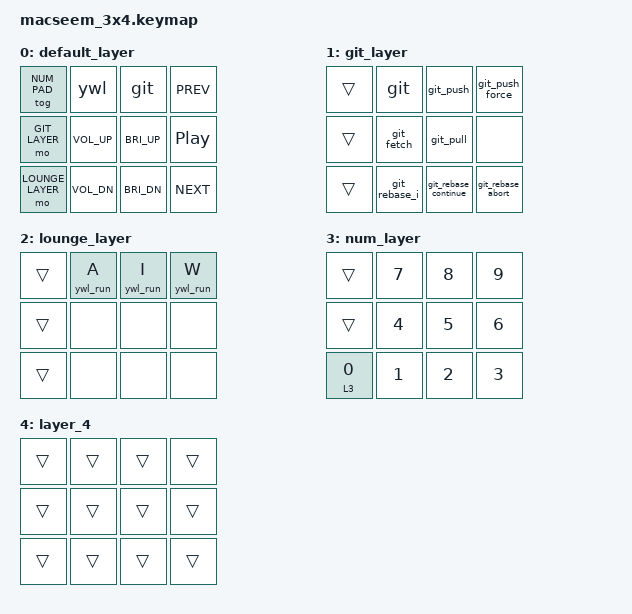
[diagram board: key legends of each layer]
/*
 * Copyright (c) 2020 The ZMK Contributors
 *
 * SPDX-License-Identifier: MIT
 */

#include <behaviors.dtsi>
#include <dt-bindings/zmk/keys.h>

#define DEFAULT_LAYER 0
#define GIT_LAYER 1
#define LOUNGE_LAYER  2
#define NUM_PAD 3

/ {
    macros {
        git: git {
            compatible = "zmk,behavior-macro";
            wait-ms = <40>;
            tap-ms = <40>;
            #binding-cells = <0>;
            bindings = <&macro_tap &kp G &kp I &kp T>;
        };

        git_rebase: git_rebase {
            compatible = "zmk,behavior-macro";
            wait-ms = <40>;
            tap-ms = <40>;
            #binding-cells = <0>;
            bindings = <&macro_tap &kp G &kp I &kp T &kp SPACE &kp R &kp E &kp B &kp A &kp S &kp E>;
        };

        git_rebase_i: git_rebase_i {
            compatible = "zmk,behavior-macro";
            wait-ms = <40>;
            tap-ms = <40>;
            #binding-cells = <0>;
            bindings = <&macro_tap &kp G &kp I &kp T &kp SPACE &kp R &kp E &kp B &kp A &kp S &kp E &kp SPACE &kp MINUS &kp I>;
        };

        git_rebase_continue: git_rebase_continue {
            compatible = "zmk,behavior-macro";
            wait-ms = <40>;
            tap-ms = <40>;
            #binding-cells = <0>;
            bindings = <&macro_tap &kp G &kp I &kp T &kp SPACE &kp R &kp E &kp B &kp A &kp S &kp E &kp SPACE &kp MINUS &kp MINUS &kp C &kp O &kp N &kp T &kp I &kp N &kp U &kp E>;
        };

        git_rebase_abort: git_rebase_abort {
            compatible = "zmk,behavior-macro";
            wait-ms = <40>;
            tap-ms = <40>;
            #binding-cells = <0>;
            bindings = <&macro_tap &kp G &kp I &kp T &kp SPACE &kp R &kp E &kp B &kp A &kp S &kp E &kp SPACE &kp MINUS &kp MINUS &kp A &kp B &kp O &kp R &kp T>;
        };

        git_fetch: git_fetch {
            compatible = "zmk,behavior-macro";
            wait-ms = <40>;
            tap-ms = <40>;
            #binding-cells = <0>;
            bindings = <&macro_tap &kp G &kp I &kp T &kp SPACE &kp F &kp E &kp T &kp C &kp H>;
        };

        git_pull: git_pull {
            compatible = "zmk,behavior-macro";
            wait-ms = <40>;
            tap-ms = <40>;
            #binding-cells = <0>;
            bindings = <&macro_tap &kp G &kp I &kp T &kp SPACE &kp P &kp U &kp L &kp L>;
        };

        git_push: git_push {
            compatible = "zmk,behavior-macro";
            wait-ms = <40>;
            tap-ms = <40>;
            #binding-cells = <0>;
            bindings = <&macro_tap &kp G &kp I &kp T &kp SPACE &kp P &kp U &kp S &kp H>;
        };

        git_push_force: git_push_force {
            compatible = "zmk,behavior-macro";
            wait-ms = <40>;
            tap-ms = <40>;
            #binding-cells = <0>;
            bindings = <&macro_tap &kp G &kp I &kp T &kp SPACE &kp P &kp U &kp S &kp H &kp SPACE &kp MINUS &kp MINUS &kp F &kp O &kp R &kp C &kp E>;
        };

        ywl: ywl {
            compatible = "zmk,behavior-macro";
            wait-ms = <40>;
            tap-ms = <40>;
            #binding-cells = <0>;
            bindings = <&macro_tap &kp Y &kp W &kp L>;
        };

        ywl_run: ywl_run {
            compatible = "zmk,behavior-macro-one-param";
            wait-ms = <40>;
            tap-ms = <40>;
            #binding-cells = <1>;
            bindings = <&macro_tap &kp Y &kp W &kp L &macro_param_1to1 &kp MACRO_PLACEHOLDER>;
        };
    };

    keymap {
        compatible = "zmk,keymap";

        default_layer {
            bindings = <
&tog NUM_PAD      &ywl          &git          &kp C_PREV
&mo GIT_LAYER     &kp C_VOL_UP  &kp C_BRI_UP  &kp C_PP
&mo LOUNGE_LAYER  &kp C_VOL_DN  &kp C_BRI_DN  &kp C_NEXT
            >;
        };

        git_layer {
            bindings = <
&trans  &git           &git_push             &git_push_force
&trans  &git_fetch     &git_pull             &none
&trans  &git_rebase_i  &git_rebase_continue  &git_rebase_abort
            >;
        };

        lounge_layer {
            bindings = <
&trans  &ywl_run A  &ywl_run I  &ywl_run W
&trans  &none       &none       &none
&trans  &none       &none       &none
            >;
        };

        num_layer {
            bindings = <
&trans    &kp N7  &kp N8  &kp N9
&trans    &kp N4  &kp N5  &kp N6
&lt 3 N0  &kp N1  &kp N2  &kp N3
            >;
        };

        layer_4 {
            bindings = <
&trans  &trans  &trans  &trans
&trans  &trans  &trans  &trans
&trans  &trans  &trans  &trans
            >;
        };
    };
};
